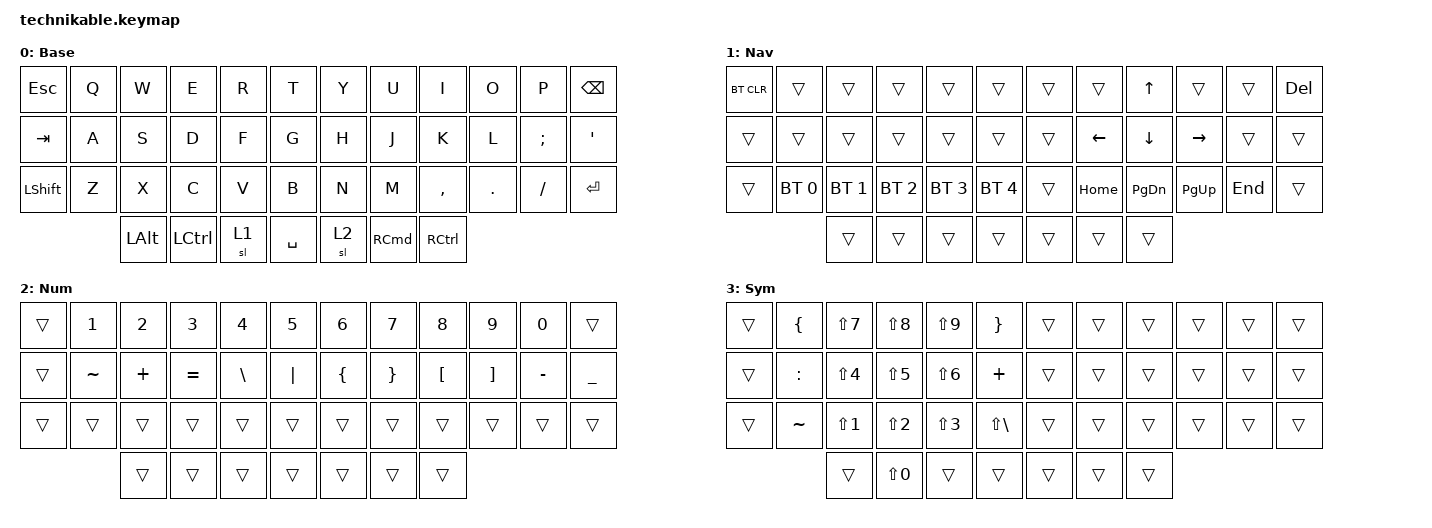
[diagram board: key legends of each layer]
/*
 * Copyright (c) 2022 Pete Johanson
 *
 * SPDX-License-Identifier: MIT
 */

#include <behaviors.dtsi>
#include <dt-bindings/zmk/bt.h>
#include <dt-bindings/zmk/keys.h>

#define BAS_L 0
#define NAV_L 1
#define NUM_L 2
#define SYM_L 3

// Using layer taps on thumbs, having quick tap as well helps w/ repeating space/backspace

&lt { quick_tap_ms = <200>; };

/ {
    chosen { zmk,matrix_transform = &mit_transform; };

    conditional_layers {
        compatible = "zmk,conditional-layers";

        tri_layer {
            if-layers = <NAV_L NUM_L>;
            then-layer = <SYM_L>;
        };
    };

    keymap {
        compatible = "zmk,keymap";

        base_layer {
            label = "Base";
            bindings = <
&kp ESC    &kp Q  &kp W         &kp E             &kp R  &kp T        &kp Y  &kp U              &kp I      &kp O    &kp P     &kp BACKSPACE
&kp TAB    &kp A  &kp S         &kp D             &kp F  &kp G        &kp H  &kp J              &kp K      &kp L    &kp SEMI  &kp SINGLE_QUOTE
&kp LSHFT  &kp Z  &kp X         &kp C             &kp V  &kp B        &kp N  &kp M              &kp COMMA  &kp DOT  &kp FSLH  &kp RET
                  &kp LEFT_ALT  &kp LEFT_CONTROL  &sl 1  &kp SPACE    &sl 2  &kp RIGHT_COMMAND  &kp RCTRL
            >;
        };

        nav_layer {
            label = "Nav";
            bindings = <
&bt BT_CLR  &trans        &trans        &trans        &trans        &trans          &trans  &trans    &kp UP_ARROW  &trans     &trans   &kp DEL
&trans      &trans        &trans        &trans        &trans        &trans          &trans  &kp LEFT  &kp DOWN      &kp RIGHT  &trans   &trans
&trans      &bt BT_SEL 0  &bt BT_SEL 1  &bt BT_SEL 2  &bt BT_SEL 3  &bt BT_SEL 4    &trans  &kp HOME  &kp PG_DN     &kp PG_UP  &kp END  &trans
                          &trans        &trans        &trans        &trans          &trans  &trans    &trans
            >;
        };

        num_layer {
            label = "Num";
            bindings = <
&trans  &kp NUMBER_1  &kp NUMBER_2  &kp NUMBER_3  &kp NUMBER_4   &kp N5      &kp NUMBER_6    &kp N7           &kp N8            &kp N9             &kp NUMBER_0  &trans
&trans  &kp TILDE     &kp PLUS      &kp EQUAL     &kp BACKSLASH  &kp PIPE    &kp LEFT_BRACE  &kp RIGHT_BRACE  &kp LEFT_BRACKET  &kp RIGHT_BRACKET  &kp MINUS     &kp UNDERSCORE
&trans  &trans        &trans        &trans        &trans         &trans      &trans          &trans           &trans            &trans             &trans        &trans
                      &trans        &trans        &trans         &trans      &trans          &trans           &trans
            >;
        };

        sym_layer {
            label = "Sym";
            bindings = <
&trans  &kp LBRC   &kp LS(N7)  &kp LS(N8)  &kp LS(N9)  &kp RBRC        &trans  &trans  &trans  &trans  &trans  &trans
&trans  &kp COLON  &kp LS(N4)  &kp LS(N5)  &kp LS(N6)  &kp PLUS        &trans  &trans  &trans  &trans  &trans  &trans
&trans  &kp TILDE  &kp LS(N1)  &kp LS(N2)  &kp LS(N3)  &kp LS(BSLH)    &trans  &trans  &trans  &trans  &trans  &trans
                   &trans      &kp LS(N0)  &trans      &trans          &trans  &trans  &trans
            >;
        };
    };
};
